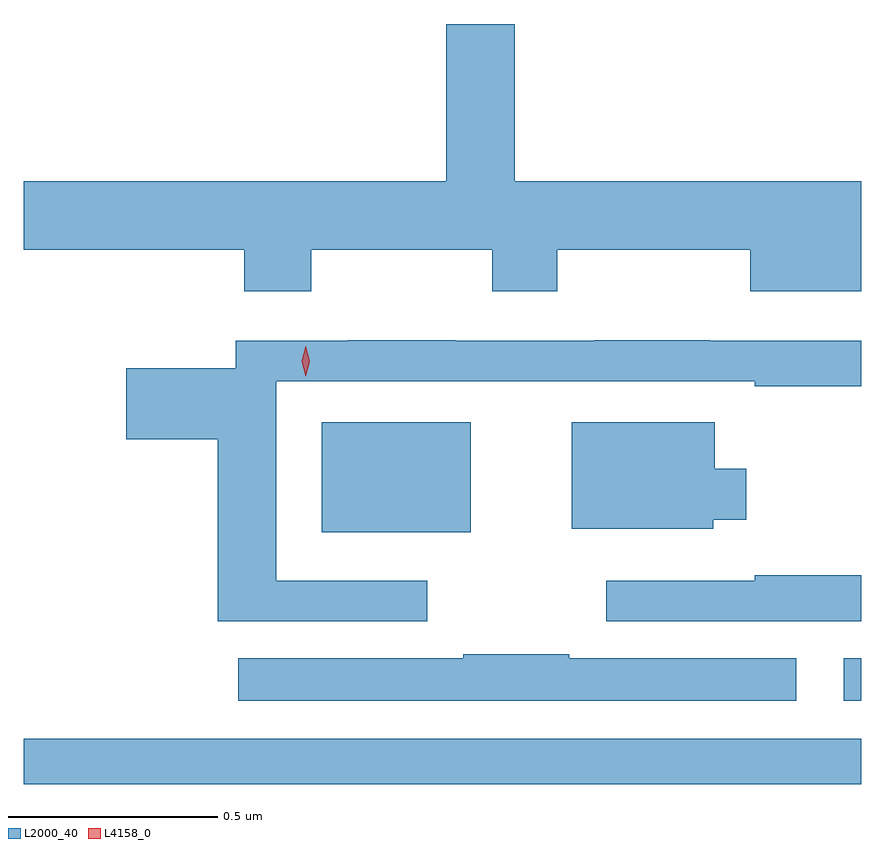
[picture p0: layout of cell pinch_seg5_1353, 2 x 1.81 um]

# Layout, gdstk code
import gdstk
lib = gdstk.Library(unit=1e-6, precision=1e-09)
def R(c, l, rs):  # rectangles x0, y0, x1, y1
    for r in rs: c.add(gdstk.rectangle(r[:2], r[2:], *l))
def P(c, l, *ps):  # polygons
    for p in ps: c.add(gdstk.Polygon(p, *l))
L2000_40 = (2000, 40)
L4158_0 = (4158, 0)

pinch_seg5_1353 = lib.new_cell('pinch_seg5_1353')
R(pinch_seg5_1353, L2000_40, [(523.639,832.84,525.639,832.948), (525.597,833.039,525.639,833.14), (524.351,833.441,524.707,833.704)])
P(pinch_seg5_1353, L2000_40, [(524.325,834.116),(524.758,834.116),(524.758,834.017),(524.913,834.017),(524.913,834.116),(525.374,834.116),(525.374,834.017),(525.639,834.017),(525.639,834.28),(524.812,834.28),(524.812,834.655),(524.648,834.655),(524.648,834.28),(523.639,834.28),(523.639,834.116),(524.165,834.116),(524.165,834.017),(524.325,834.017)],
  [(524.602,833.325),(524.242,833.325),(524.242,833.802),(525.385,833.802),(525.385,833.79),(525.639,833.79),(525.639,833.898),(525.278,833.898),(525.278,833.9),(525.001,833.9),(525.001,833.898),(524.669,833.898),(524.669,833.9),(524.413,833.9),(524.413,833.898),(524.145,833.898),(524.145,833.833),(523.884,833.833),(523.884,833.663),(524.102,833.663),(524.102,833.229),(524.602,833.229)],
  [(525.285,833.471),(525.364,833.471),(525.364,833.593),(525.289,833.593),(525.289,833.704),(524.948,833.704),(524.948,833.45),(525.285,833.45)],
  [(525.639,833.338),(525.385,833.338),(525.385,833.325),(525.03,833.325),(525.03,833.229),(525.639,833.229)],
  [(525.484,833.14),(524.942,833.14),(524.942,833.15),(524.689,833.15),(524.689,833.14),(524.151,833.14),(524.151,833.039),(525.484,833.039)])
P(pinch_seg5_1353, L4158_0, [(524.313,833.814),(524.313,833.814),(524.303,833.85),(524.312,833.885),(524.312,833.886),(524.312,833.885),(524.322,833.85),(524.313,833.814)])

lib.write_gds('pinch_seg5_1353.gds')
